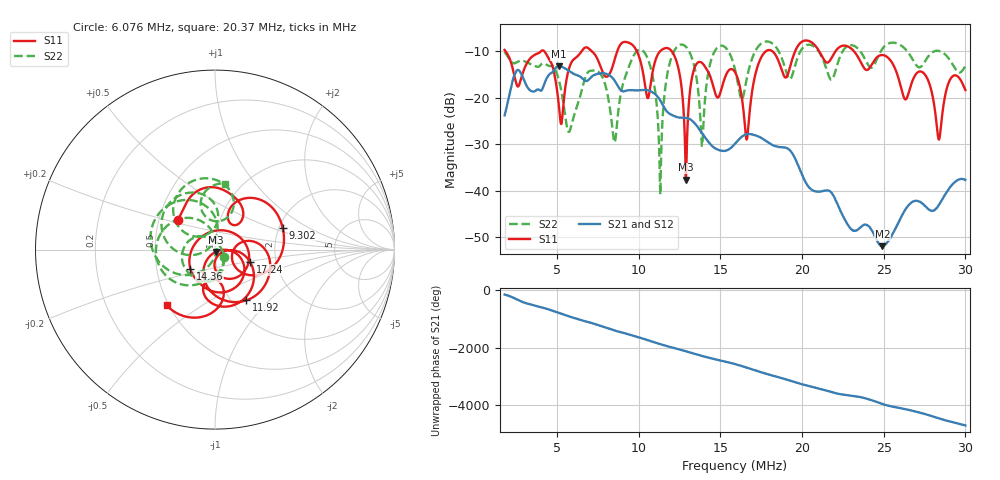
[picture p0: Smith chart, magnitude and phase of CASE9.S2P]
!Agilent Technologies,E5061B,MY49101568,A.02.00
!Date: Wed Mar 01 15:55:32 2023
!Data & Calibration Information:
!Freq	S11:SOLT2(OFF)	S21:SOLT2(OFF)	S12:SOLT2(OFF)	S22:SOLT2(OFF)
# Hz S dB R 50
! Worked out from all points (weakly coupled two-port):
!   1155 points, 1.8 MHz to 30 MHz, reference 50 ohm
!   highest |S21| = -13.20 dB at 5.123 MHz (marker M1); lowest = -52.0 dB at 24.92 MHz (marker M2)
!   lowest |S11| = -37.7 dB at 12.89 MHz (marker M3), VSWR 1.03, Z = 50.4 - j1.26 ohm
!   |S11| at or under -10 dB: 4.229 MHz to 6.51 MHz (2.281 MHz wide, 42.5 % of centre); 12.03 MHz to 17.79 MHz (5.755 MHz wide, 38.6 % of centre); 23.18 MHz to end of sweep (the widest 3 of 8)
!   |S22| runs from -40.9 to -7.9 dB; largest |S21 - S12| = 0.003
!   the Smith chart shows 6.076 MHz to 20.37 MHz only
!   S11 on the Smith chart (normalised r, x): 6.076 MHz: 0.63, +0.22; 9.302 MHz: 2.10, +0.60; 11.92 MHz: 1.17, -0.74; 14.36 MHz: 0.74, -0.17; 17.24 MHz: 1.47, -0.21; 20.37 MHz: 0.49, -0.37
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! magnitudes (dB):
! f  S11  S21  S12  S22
! 1.8 MHz  -9.7  -23.8  -23.8  -10.1
! 5.123 MHz  -21.7  -13.2  -13.2  -16.3
! 6.076 MHz  -11.6  -14.9  -14.9  -23.5
! 6.516 MHz  -10.0  -15.7  -15.6  -18.4
! 7.689 MHz  -13.5  -14.7  -14.7  -15.0
! 8.52 MHz  -12.0  -16.3  -16.2  -29.6
! 9.302 MHz  -8.0  -18.4  -18.4  -14.3
! 10.5 MHz  -19.5  -18.3  -18.4  -11.1
! 11.21 MHz  -10.5  -20.0  -20.0  -26.5
! 11.92 MHz  -9.6  -23.5  -23.5  -12.4
! 12.89 MHz  -37.7  -24.3  -24.4  -9.0
! 13.87 MHz  -12.5  -27.6  -27.6  -30.4
! 14.36 MHz  -15.2  -29.9  -29.9  -12.9
! 15.9 MHz  -14.5  -29.9  -30.0  -13.9
! 16.61 MHz  -29.0  -27.9  -27.9  -16.1
! 17.24 MHz  -13.7  -28.2  -28.3  -9.4
! 20.37 MHz  -7.7  -39.0  -39.0  -8.6
! 20.62 MHz  -8.1  -39.9  -39.8  -8.7
! 24.92 MHz  -10.8  -52.0  -51.8  -9.5
! 25.31 MHz  -11.5  -50.8  -50.6  -8.3
! 28.36 MHz  -29.0  -43.2  -43.1  -9.9
! 30 MHz  -18.3  -37.7  -37.6  -13.1
